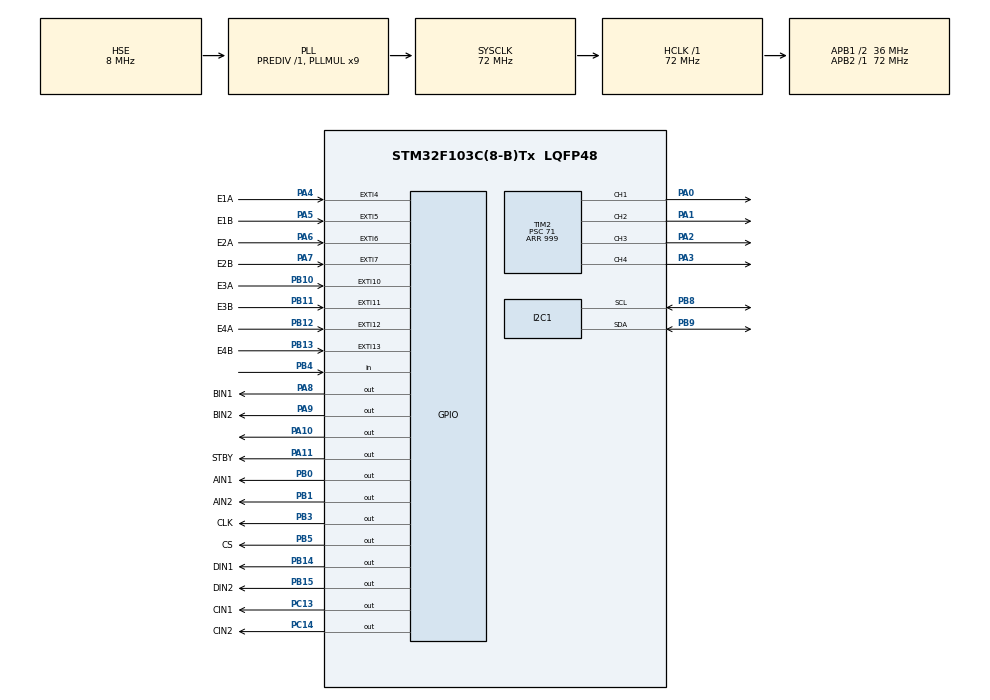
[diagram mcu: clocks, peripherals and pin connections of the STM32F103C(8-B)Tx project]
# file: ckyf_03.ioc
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FREERTOS.Queues01=MPUyawDataQueue01,5,float,0,Dynamic,NULL,NULL;MotorASpeedQueue02,4,float,0,Dynamic,NULL,NULL;MotorBSpeedQueue03,4,float,0,Dynamic,NULL,NULL;MotorCSpeedQueue04,4,float,0,Dynamic,NULL,NULL;MotorDSpeedQueue05,4,float,0,Dynamic,NULL,NULL;MotorAPosiQueue07,4,float,0,Dynamic,NULL,NULL;MotorBPosiQueue07,4,float,0,Dynamic,NULL,NULL;MotorCPosiQueue08,4,float,0,Dynamic,NULL,NULL;MotorDPosiQueue09,4,float,0,Dynamic,NULL,NULL
FREERTOS.Tasks01=defaultTask,24,128,StartDefaultTask,Default,NULL,Dynamic,NULL,NULL;MPU6050Task02,40,256,MPU6050task02,Default,NULL,Dynamic,NULL,NULL;PIDcalculateTas,48,512,PIDTask03,Default,NULL,Dynamic,NULL,NULL;ps2task,40,256,ps2Task04,Default,NULL,Dynamic,NULL,NULL
FREERTOS.Timers01=mpuReadTimer01,Callback01,osTimerPeriodic,Default,NULL,Dynamic,NULL
FREERTOS.configTOTAL_HEAP_SIZE=8192
I2C1.I2C_Mode=I2C_Fast
Mcu.Family=STM32F1
Mcu.Name=STM32F103C(8-B)Tx
Mcu.Package=LQFP48
NVIC.EXTI15_10_IRQn=true\:5\:0\:false\:false\:true\:true\:true\:true\:true
NVIC.EXTI4_IRQn=true\:5\:0\:false\:false\:true\:true\:true\:true\:true
NVIC.EXTI9_5_IRQn=true\:5\:0\:false\:false\:true\:true\:true\:true\:true
NVIC.PVD_IRQn=true\:5\:0\:false\:false\:true\:true\:true\:true\:true
NVIC.PriorityGroup=NVIC_PRIORITYGROUP_4
NVIC.TIM1_UP_IRQn=true\:15\:0\:false\:false\:true\:false\:false\:true\:true
NVIC.TIM3_IRQn=true\:5\:0\:false\:false\:true\:true\:true\:true\:true
NVIC.TimeBase=TIM1_UP_IRQn
NVIC.TimeBaseIP=TIM1
PA0-WKUP.Signal=S_TIM2_CH1_ETR
PA1.Signal=S_TIM2_CH2
PA10.Signal=GPIO_Output
PA11.GPIO_Label=STBY
PA11.Signal=GPIO_Output
PA13.Mode=Serial_Wire
PA13.Signal=SYS_JTMS-SWDIO
PA14.Mode=Serial_Wire
PA14.Signal=SYS_JTCK-SWCLK
PA2.Signal=S_TIM2_CH3
PA3.Signal=S_TIM2_CH4
PA4.GPIO_Label=E1A
PA4.GPIO_ModeDefaultEXTI=GPIO_MODE_IT_RISING_FALLING
PA4.GPIO_PuPd=GPIO_PULLUP
PA4.Signal=GPXTI4
PA5.GPIO_Label=E1B
PA5.GPIO_ModeDefaultEXTI=GPIO_MODE_IT_RISING_FALLING
PA5.GPIO_PuPd=GPIO_PULLUP
PA5.Signal=GPXTI5
PA6.GPIO_Label=E2A
PA6.GPIO_ModeDefaultEXTI=GPIO_MODE_IT_RISING_FALLING
PA6.GPIO_PuPd=GPIO_PULLUP
PA6.Signal=GPXTI6
PA7.GPIO_Label=E2B
PA7.GPIO_ModeDefaultEXTI=GPIO_MODE_IT_RISING_FALLING
PA7.GPIO_PuPd=GPIO_PULLUP
PA7.Signal=GPXTI7
PA8.GPIO_Label=BIN1
PA8.GPIO_PuPd=GPIO_PULLUP
PA8.Signal=GPIO_Output
PA9.GPIO_Label=BIN2
PA9.GPIO_PuPd=GPIO_PULLUP
PA9.Signal=GPIO_Output
PB0.GPIO_Label=AIN1
PB0.GPIO_PuPd=GPIO_PULLUP
PB0.Signal=GPIO_Output
PB1.GPIO_Label=AIN2
PB1.GPIO_PuPd=GPIO_PULLUP
PB1.Signal=GPIO_Output
PB10.GPIO_Label=E3A
PB10.GPIO_ModeDefaultEXTI=GPIO_MODE_IT_RISING_FALLING
PB10.GPIO_PuPd=GPIO_PULLUP
PB10.Signal=GPXTI10
PB11.GPIO_Label=E3B
PB11.GPIO_ModeDefaultEXTI=GPIO_MODE_IT_RISING_FALLING
PB11.GPIO_PuPd=GPIO_PULLUP
PB11.Signal=GPXTI11
PB12.GPIO_Label=E4A
PB12.GPIO_ModeDefaultEXTI=GPIO_MODE_IT_RISING_FALLING
PB12.GPIO_PuPd=GPIO_PULLUP
PB12.Signal=GPXTI12
PB13.GPIO_Label=E4B
PB13.GPIO_ModeDefaultEXTI=GPIO_MODE_IT_RISING_FALLING
PB13.GPIO_PuPd=GPIO_PULLUP
PB13.Signal=GPXTI13
PB14.GPIO_Label=DIN1
PB14.GPIO_PuPd=GPIO_PULLUP
PB14.Signal=GPIO_Output
PB15.GPIO_Label=DIN2
PB15.GPIO_PuPd=GPIO_PULLUP
PB15.Signal=GPIO_Output
PB3.GPIO_Label=CLK
PB3.GPIO_PuPd=GPIO_PULLUP
PB3.Signal=GPIO_Output
PB4.Signal=GPIO_Input
PB5.GPIO_Label=CS
PB5.GPIO_PuPd=GPIO_PULLUP
PB5.Signal=GPIO_Output
PB8.Mode=I2C
PB8.Signal=I2C1_SCL
PB9.Mode=I2C
PB9.Signal=I2C1_SDA
PC13-TAMPER-RTC.GPIO_Label=CIN1
PC13-TAMPER-RTC.Signal=GPIO_Output
PC14-OSC32_IN.GPIO_Label=CIN2
PC14-OSC32_IN.Signal=GPIO_Output
PD0-OSC_IN.Mode=HSE-External-Oscillator
PD0-OSC_IN.Signal=RCC_OSC_IN
PD1-OSC_OUT.Mode=HSE-External-Oscillator
PD1-OSC_OUT.Signal=RCC_OSC_OUT
ProjectManager.HeapSize=0x200
ProjectManager.StackSize=0x400
ProjectManager.TargetToolchain=MDK-ARM V5.32
RCC.AHBFreq_Value=72000000
RCC.APB1CLKDivider=RCC_HCLK_DIV2
RCC.APB1Freq_Value=36000000
RCC.APB1TimFreq_Value=72000000
RCC.APB2Freq_Value=72000000
RCC.APB2TimFreq_Value=72000000
RCC.HCLKFreq_Value=72000000
RCC.PLLMUL=RCC_PLL_MUL9
RCC.PLLSourceVirtual=RCC_PLLSOURCE_HSE
RCC.SYSCLKFreq_VALUE=72000000
RCC.SYSCLKSource=RCC_SYSCLKSOURCE_PLLCLK
RCC.USBFreq_Value=72000000
SH.S_TIM2_CH1_ETR.0=TIM2_CH1,PWM Generation1 CH1
SH.S_TIM2_CH2.0=TIM2_CH2,PWM Generation2 CH2
SH.S_TIM2_CH3.0=TIM2_CH3,PWM Generation3 CH3
SH.S_TIM2_CH4.0=TIM2_CH4,PWM Generation4 CH4
TIM2.Channel-PWM\ Generation1\ CH1=TIM_CHANNEL_1
TIM2.Channel-PWM\ Generation2\ CH2=TIM_CHANNEL_2
TIM2.Channel-PWM\ Generation3\ CH3=TIM_CHANNEL_3
TIM2.Channel-PWM\ Generation4\ CH4=TIM_CHANNEL_4
TIM2.Period=999
TIM2.Prescaler=71
TIM3.AutoReloadPreload=TIM_AUTORELOAD_PRELOAD_ENABLE
TIM3.Period=999
TIM3.Prescaler=719
VP_FREERTOS_VS_CMSIS_V2.Mode=CMSIS_V2
VP_SYS_VS_tim1.Mode=TIM1
VP_TIM3_VS_ClockSourceINT.Mode=Internal
board=custom

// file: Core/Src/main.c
/* USER CODE BEGIN Header */
/**
  ******************************************************************************
  * @file           : main.c
  * @brief          : Main program body
  ******************************************************************************
  * @attention
  *
  * Copyright (c) 2026 STMicroelectronics.
  * All rights reserved.
  *
  * This software is licensed under terms that can be found in the LICENSE file
  * in the root directory of this software component.
  * If no LICENSE file comes with this software, it is provided AS-IS.
  *
  ******************************************************************************
  */
/* USER CODE END Header */
#include "main.h"
#include "cmsis_os.h"
#include "i2c.h"
#include "tim.h"
#include "gpio.h"

/* USER CODE BEGIN Includes */
#include "ps2.h"
#include "encoder.h"
/* USER CODE END Includes */

/* USER CODE BEGIN PTD */
Encoder EncodeA,EncodeB,EncodeC,EncodeD;
/* USER CODE END PTD */

/* USER CODE BEGIN PV */
extern osMessageQueueId_t MotorCSpeedQueue04Handle;
extern osMessageQueueId_t MPUyawDataQueue01Handle;
extern osMessageQueueId_t MotorASpeedQueue02Handle;
extern osMessageQueueId_t MotorBSpeedQueue03Handle;
extern osMessageQueueId_t MotorDSpeedQueue05Handle;
extern osMessageQueueId_t MotorAPosiQueue07Handle;
extern osMessageQueueId_t MotorBPosiQueue07Handle;
extern osMessageQueueId_t MotorCPosiQueue08Handle;
extern osMessageQueueId_t MotorDPosiQueue09Handle;
/* USER CODE END PV */

void SystemClock_Config(void);
void MX_FREERTOS_Init(void);

int main(void)
{

  /* MCU Configuration--------------------------------------------------------*/

  /* Reset of all peripherals, Initializes the Flash interface and the Systick. */
  HAL_Init();

  /* Configure the system clock */
  SystemClock_Config();

  /* Initialize all configured peripherals */
  MX_GPIO_Init();
  MX_TIM2_Init();
  MX_TIM3_Init();
  MX_I2C1_Init();
  /* USER CODE BEGIN 2 */
	 CoreDebug->DEMCR |= CoreDebug_DEMCR_TRCENA_Msk;
  DWT->CYCCNT = 0;
  DWT->CTRL |= DWT_CTRL_CYCCNTENA_Msk;//作为delay_us_nos函数的初始化
  HAL_TIM_Base_Start(&htim2);
  HAL_TIM_Base_Start_IT(&htim3);
  HAL_TIM_PWM_Start(&htim2,TIM_CHANNEL_1);
  HAL_TIM_PWM_Start(&htim2,TIM_CHANNEL_2);
  HAL_TIM_PWM_Start(&htim2,TIM_CHANNEL_3);
  HAL_TIM_PWM_Start(&htim2,TIM_CHANNEL_4);//启动定时器以及pwm
	PS2_SetInit();//ps2接收初始化，需要在时钟初始化后面
  /* USER CODE END 2 */

  /* Init scheduler */
  osKernelInitialize();  /* Call init function for freertos objects (in cmsis_os2.c) */
  MX_FREERTOS_Init();

  /* Start scheduler */
  osKernelStart();

  /* We should never get here as control is now taken by the scheduler */

  /* Infinite loop */
  while (1)
  {

  }
}

void SystemClock_Config(void)
{
  RCC_OscInitTypeDef RCC_OscInitStruct = {0};
  RCC_ClkInitTypeDef RCC_ClkInitStruct = {0};

  /** Initializes the RCC Oscillators according to the specified parameters
  * in the RCC_OscInitTypeDef structure.
  */
  RCC_OscInitStruct.OscillatorType = RCC_OSCILLATORTYPE_HSE;
  RCC_OscInitStruct.HSEState = RCC_HSE_ON;
  RCC_OscInitStruct.HSEPredivValue = RCC_HSE_PREDIV_DIV1;
  RCC_OscInitStruct.HSIState = RCC_HSI_ON;
  RCC_OscInitStruct.PLL.PLLState = RCC_PLL_ON;
  RCC_OscInitStruct.PLL.PLLSource = RCC_PLLSOURCE_HSE;
  RCC_OscInitStruct.PLL.PLLMUL = RCC_PLL_MUL9;
  if (HAL_RCC_OscConfig(&RCC_OscInitStruct) != HAL_OK)
  {
    Error_Handler();
  }

  /** Initializes the CPU, AHB and APB buses clocks
  */
  RCC_ClkInitStruct.ClockType = RCC_CLOCKTYPE_HCLK|RCC_CLOCKTYPE_SYSCLK
                              |RCC_CLOCKTYPE_PCLK1|RCC_CLOCKTYPE_PCLK2;
  RCC_ClkInitStruct.SYSCLKSource = RCC_SYSCLKSOURCE_PLLCLK;
  RCC_ClkInitStruct.AHBCLKDivider = RCC_SYSCLK_DIV1;
  RCC_ClkInitStruct.APB1CLKDivider = RCC_HCLK_DIV2;
  RCC_ClkInitStruct.APB2CLKDivider = RCC_HCLK_DIV1;

  if (HAL_RCC_ClockConfig(&RCC_ClkInitStruct, FLASH_LATENCY_2) != HAL_OK)
  {
    Error_Handler();
  }
}

/* USER CODE BEGIN 4 */
/*********GPIO外部中断**********/
//作为软件编码器供电机使用
//配置为双引脚上升下降沿触发->四倍频

 void HAL_GPIO_EXTI_Callback(uint16_t GPIO_Pin)
  {
    if(GPIO_Pin==E1A_Pin||GPIO_Pin==E1B_Pin){
      EncodeProcess(E1A_GPIO_Port,E1A_Pin,E1B_Pin,&EncodeA);
    }
    if(GPIO_Pin==E2A_Pin||GPIO_Pin==E2B_Pin){
      EncodeProcess(E2A_GPIO_Port,E2A_Pin,E2B_Pin,&EncodeB);
    }
    if(GPIO_Pin==E3A_Pin||GPIO_Pin==E3B_Pin){
      EncodeProcess(E3A_GPIO_Port,E3A_Pin,E3B_Pin,&EncodeC);
    }
    if(GPIO_Pin==E4A_Pin||GPIO_Pin==E4B_Pin){
      EncodeProcess(E4A_GPIO_Port,E4A_Pin,E4B_Pin,&EncodeD);
    }
  }
/* USER CODE END 4 */

	/***定时器3中断回调函数****/
	//定时读取编码器值并传入队列

void HAL_TIM_PeriodElapsedCallback(TIM_HandleTypeDef *htim)
{
  if (htim->Instance == TIM1)
  {
    HAL_IncTick();
  }
  /* USER CODE BEGIN Callback 1 */
	if(htim->Instance == TIM3){
    float MotorSpeedA=0,MotorSpeedB=0,MotorSpeedC=0,MotorSpeedD=0;
    float MotorAPosi=0,MotorBPosi=0,MotorCPosi=0,MotorDPosi=0;
    MotorAPosi=EncodeA.cnt,MotorBPosi=EncodeB.cnt,MotorCPosi=EncodeC.cnt,MotorDPosi=EncodeD.cnt;
    MotorSpeedA=(float)MotorAPosi-EncodeA.last_cnt;
    EncodeA.last_cnt=MotorAPosi;
    MotorSpeedB=(float)MotorBPosi-EncodeB.last_cnt;
    EncodeB.last_cnt=MotorBPosi;
    MotorSpeedC=-(float)(MotorCPosi-EncodeC.last_cnt);
    EncodeC.last_cnt=MotorCPosi;
    MotorSpeedD=-(float)(MotorDPosi-EncodeD.last_cnt);
    EncodeD.last_cnt=MotorDPosi;
    osMessageQueuePut(MotorASpeedQueue02Handle,&MotorSpeedA,0,0);
    osMessageQueuePut(MotorBSpeedQueue03Handle,&MotorSpeedB,0,0);
    osMessageQueuePut(MotorCSpeedQueue04Handle,&MotorSpeedC,0,0);
    osMessageQueuePut(MotorDSpeedQueue05Handle,&MotorSpeedD,0,0);
    osMessageQueuePut(MotorAPosiQueue07Handle,&MotorAPosi,0,0);
    osMessageQueuePut(MotorBPosiQueue07Handle,&MotorBPosi,0,0);
    osMessageQueuePut(MotorCPosiQueue08Handle,&MotorCPosi,0,0);
    osMessageQueuePut(MotorDPosiQueue09Handle,&MotorDPosi,0,0);
  }
  /* USER CODE END Callback 1 */
}

void Error_Handler(void)
{
  __disable_irq();
  while (1)
  {
  }
}

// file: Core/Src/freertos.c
/* USER CODE BEGIN Header */
/**
  ******************************************************************************
  * File Name          : freertos.c
  * Description        : Code for freertos applications
  ******************************************************************************
  * @attention
  *
  * Copyright (c) 2026 STMicroelectronics.
  * All rights reserved.
  *
  * This software is licensed under terms that can be found in the LICENSE file
  * in the root directory of this software component.
  * If no LICENSE file comes with this software, it is provided AS-IS.
  *
  ******************************************************************************
  */
/* USER CODE END Header */

#include "FreeRTOS.h"
#include "task.h"
#include "main.h"
#include "cmsis_os.h"

/* USER CODE BEGIN Includes */
#include "mpu6050.h"
#include "pid.h"
#include "math.h"
#include "ps2.h"
#include "pwmset.h"
/* USER CODE END Includes */

/* USER CODE BEGIN PTD */
pid_type_def posiX,posiY,posiT,speeA,speeB,speeC,speeD;
/* USER CODE END PTD */

/* USER CODE BEGIN PD */
#define LineNum 13.0f
#define ReductRate 34.0f
#define WheelDia 68.0f
#define PulsesPerRoll 1768.0f
#define PulsesPermm 1768.0f/(68.0f*PI)

/* USER CODE END PD */

/* USER CODE BEGIN Variables */
fp32 kpidX[3]={0.6f,0.0f,0.0f},kpidY[3]={0.6f,0.0f,0.0f},kpidT[3]={0.9f,0.0f,0.0f};
fp32 kpidA[3]={10.0f,0.0f,0.0f},kpidB[3]={10.0f,0.0f,0.0f},kpidC[3]={10.0f,0.0f,0.0f},kpidD[3]={10.0f,0.0f,0.0f};
  uint8_t flag=1,roll_flag=0,tuoluo_flag=0;
fp32 first_omega=0,d_omega=0;
fp32 x_set=0,y_set=0,t_set=0;
fp32 t_conSpeed=0,tuo_speed=0;
fp32 now_speeA=0,now_speeB=0,now_speeC=0,now_speeD=0;
uint8_t cnt=0,lx=0,ly=0,rx=0,ry=0;
int initValue=1;
int initValue2=1;//总之是一堆用上没用上的还有debug用的一些变量
/* USER CODE END Variables */
/* Definitions for defaultTask */
osThreadId_t defaultTaskHandle;
const osThreadAttr_t defaultTask_attributes = {
  .name = "defaultTask",
  .stack_size = 128 * 4,
  .priority = (osPriority_t) osPriorityNormal,
};
/* Definitions for MPU6050Task02 */
osThreadId_t MPU6050Task02Handle;
const osThreadAttr_t MPU6050Task02_attributes = {
  .name = "MPU6050Task02",
  .stack_size = 256 * 4,
  .priority = (osPriority_t) osPriorityHigh,
};
/* Definitions for PIDcalculateTas */
osThreadId_t PIDcalculateTasHandle;
const osThreadAttr_t PIDcalculateTas_attributes = {
  .name = "PIDcalculateTas",
  .stack_size = 512 * 4,
  .priority = (osPriority_t) osPriorityRealtime,
};
/* Definitions for ps2task */
osThreadId_t ps2taskHandle;
const osThreadAttr_t ps2task_attributes = {
  .name = "ps2task",
  .stack_size = 256 * 4,
  .priority = (osPriority_t) osPriorityHigh,
};
/* Definitions for MPUyawDataQueue01 */
osMessageQueueId_t MPUyawDataQueue01Handle;
const osMessageQueueAttr_t MPUyawDataQueue01_attributes = {
  .name = "MPUyawDataQueue01"
};
/* Definitions for MotorASpeedQueue02 */
osMessageQueueId_t MotorASpeedQueue02Handle;
const osMessageQueueAttr_t MotorASpeedQueue02_attributes = {
  .name = "MotorASpeedQueue02"
};
/* Definitions for MotorBSpeedQueue03 */
osMessageQueueId_t MotorBSpeedQueue03Handle;
const osMessageQueueAttr_t MotorBSpeedQueue03_attributes = {
  .name = "MotorBSpeedQueue03"
};
/* Definitions for MotorCSpeedQueue04 */
osMessageQueueId_t MotorCSpeedQueue04Handle;
const osMessageQueueAttr_t MotorCSpeedQueue04_attributes = {
  .name = "MotorCSpeedQueue04"
};
/* Definitions for MotorDSpeedQueue05 */
osMessageQueueId_t MotorDSpeedQueue05Handle;
const osMessageQueueAttr_t MotorDSpeedQueue05_attributes = {
  .name = "MotorDSpeedQueue05"
};
/* Definitions for MotorAPosiQueue07 */
osMessageQueueId_t MotorAPosiQueue07Handle;
const osMessageQueueAttr_t MotorAPosiQueue07_attributes = {
  .name = "MotorAPosiQueue07"
};
/* Definitions for MotorBPosiQueue07 */
osMessageQueueId_t MotorBPosiQueue07Handle;
const osMessageQueueAttr_t MotorBPosiQueue07_attributes = {
  .name = "MotorBPosiQueue07"
};
/* Definitions for MotorCPosiQueue08 */
osMessageQueueId_t MotorCPosiQueue08Handle;
const osMessageQueueAttr_t MotorCPosiQueue08_attributes = {
  .name = "MotorCPosiQueue08"
};
/* Definitions for MotorDPosiQueue09 */
osMessageQueueId_t MotorDPosiQueue09Handle;
const osMessageQueueAttr_t MotorDPosiQueue09_attributes = {
  .name = "MotorDPosiQueue09"
};
/* Definitions for mpuReadTimer01 */
osTimerId_t mpuReadTimer01Handle;
const osTimerAttr_t mpuReadTimer01_attributes = {
  .name = "mpuReadTimer01"
};

void StartDefaultTask(void *argument);
void MPU6050task02(void *argument);
void PIDTask03(void *argument);
void ps2Task04(void *argument);
void Callback01(void *argument);

void MX_FREERTOS_Init(void); /* (MISRA C 2004 rule 8.1) */

void MX_FREERTOS_Init(void) {

  /* Create the timer(s) */
  /* creation of mpuReadTimer01 */
  mpuReadTimer01Handle = osTimerNew(Callback01, osTimerPeriodic, NULL, &mpuReadTimer01_attributes);

  /* Create the queue(s) */
  /* creation of MPUyawDataQueue01 */
  MPUyawDataQueue01Handle = osMessageQueueNew (5, sizeof(float), &MPUyawDataQueue01_attributes);

  /* creation of MotorASpeedQueue02 */
  MotorASpeedQueue02Handle = osMessageQueueNew (4, sizeof(float), &MotorASpeedQueue02_attributes);

  /* creation of MotorBSpeedQueue03 */
  MotorBSpeedQueue03Handle = osMessageQueueNew (4, sizeof(float), &MotorBSpeedQueue03_attributes);

  /* creation of MotorCSpeedQueue04 */
  MotorCSpeedQueue04Handle = osMessageQueueNew (4, sizeof(float), &MotorCSpeedQueue04_attributes);

  /* creation of MotorDSpeedQueue05 */
  MotorDSpeedQueue05Handle = osMessageQueueNew (4, sizeof(float), &MotorDSpeedQueue05_attributes);

  /* creation of MotorAPosiQueue07 */
  MotorAPosiQueue07Handle = osMessageQueueNew (4, sizeof(float), &MotorAPosiQueue07_attributes);

  /* creation of MotorBPosiQueue07 */
  MotorBPosiQueue07Handle = osMessageQueueNew (4, sizeof(float), &MotorBPosiQueue07_attributes);

  /* creation of MotorCPosiQueue08 */
  MotorCPosiQueue08Handle = osMessageQueueNew (4, sizeof(float), &MotorCPosiQueue08_attributes);

  /* creation of MotorDPosiQueue09 */
  MotorDPosiQueue09Handle = osMessageQueueNew (4, sizeof(float), &MotorDPosiQueue09_attributes);

  /* Create the thread(s) */
  /* creation of defaultTask */
  defaultTaskHandle = osThreadNew(StartDefaultTask, NULL, &defaultTask_attributes);

  /* creation of MPU6050Task02 */
  MPU6050Task02Handle = osThreadNew(MPU6050task02, NULL, &MPU6050Task02_attributes);

  /* creation of PIDcalculateTas */
  PIDcalculateTasHandle = osThreadNew(PIDTask03, NULL, &PIDcalculateTas_attributes);

  /* creation of ps2task */
  ps2taskHandle = osThreadNew(ps2Task04, NULL, &ps2task_attributes);

}

void StartDefaultTask(void *argument)
{
  for(;;)
  {
    osDelay(1);
  }
}

void MPU6050task02(void *argument)
{
  /* USER CODE BEGIN MPU6050task02 */
	fp32 yaw=0;//yaw值
	fp32 a=0,b=0;//临时变量，无意义，只是作为函数传入的变量使用
	initValue=MPU6050_DMP_init();
	 while(initValue!=0){
			initValue=MPU6050_DMP_init();
	 }//MPU初始化，初始化失败就一直初始化
  /* Infinite loop */
  for(;;)
  {
    if(MPU6050_DMP_Get_Date(&a,&b,&yaw)==0){

			//if(yaw<0)yaw+=360;
			if(cnt<200){
				cnt++;
			}//计数值，由于dmp的算法原因，上电一段时间后mpu读取的值才是正确的，所以用计数值来确保读取角度是正确的
			osMessageQueuePut(MPUyawDataQueue01Handle,&yaw,0,0);
			vTaskDelay(10);//如果读取到数据就传入队列，读取频率和pid任务频率相同
		}else{
			vTaskDelay(1);//未读取到则延时一个时间片
		}
  }
  /* USER CODE END MPU6050task02 */
}

void PIDTask03(void *argument)
{
  /* USER CODE BEGIN PIDTask03 */

	uint16_t pwm[4]={0};
	fp32 Omega=0;
	fp32 tar_speed[4]={0};//
	fp32 Acnt=0,Bcnt=0,Ccnt=0,Dcnt=0;
	fp32 x_now=0,x_tar=0,y_now=0,y_tar=0,t_now=0,t_tar=0;
	fp32 x_SetSpeed=0,y_SetSpeed=0,t_SetSpeed=0;
	PID_init(&posiX,PID_POSITION,&kpidX[0],1000,200);
	PID_init(&posiY,PID_POSITION,&kpidY[0],1000,200);
	PID_init(&posiT,PID_POSITION,&kpidT[0],50,200);
	PID_init(&speeA,PID_POSITION,&kpidA[0],999,50);
	PID_init(&speeB,PID_POSITION,&kpidB[0],999,50);
	PID_init(&speeC,PID_POSITION,&kpidC[0],999,50);
	PID_init(&speeD,PID_POSITION,&kpidD[0],999,50);//进行pid初始化，为3个位置环和4个速度环
  /* Infinite loop */
  for(;;)
  {
		if(osMessageQueueGet(MPUyawDataQueue01Handle,&Omega,NULL,0)!=osOK){
			osDelay(1);
		}
    if(osMessageQueueGet(MotorASpeedQueue02Handle,&now_speeA,NULL,0)!=osOK){
			osDelay(1);
		}
		if(osMessageQueueGet(MotorBSpeedQueue03Handle,&now_speeB,NULL,0)!=osOK){
			osDelay(1);
		}
		if(osMessageQueueGet(MotorCSpeedQueue04Handle,&now_speeC,NULL,0)!=osOK){
			osDelay(1);
		}
		if(osMessageQueueGet(MotorDSpeedQueue05Handle,&now_speeD,NULL,0)!=osOK){
			osDelay(1);
		}
		if(osMessageQueueGet(MotorAPosiQueue07Handle,&Acnt,NULL,0)!=osOK){
			osDelay(1);
		}
		if(osMessageQueueGet(MotorBPosiQueue07Handle,&Bcnt,NULL,0)!=osOK){
			osDelay(1);
		}
		if(osMessageQueueGet(MotorCPosiQueue08Handle,&Ccnt,NULL,0)!=osOK){
			osDelay(1);
		}
		if(osMessageQueueGet(MotorDPosiQueue09Handle,&Dcnt,NULL,0)!=osOK){
			osDelay(1);
		}//从队列读取数据，读取失败则延时一个时间片

		if(flag==1&&cnt==200){
			first_omega=Omega;
			flag=0;
			}//如果计数值和标志位都正确，更新锁定角度为读取角度

		if(first_omega>=360){
			first_omega-=360;
		}else if(first_omega<0){
			first_omega+=360;
		}//对锁定角度进行限幅处理

		if(cnt==200){
			d_omega=first_omega-Omega;
		}//只有更新了锁定角度之后再进行角度差计算，防止小车一开始乱动
		/*******PS2 Remote Control Part*******/

		/**************************************/
			 if(t_conSpeed != 0){
      // 正在手动旋转，更新目标角度，禁用位置环
      first_omega = Omega;
      d_omega = 0;

			}else{
      // 没有手动旋转，计算位置环
      d_omega=first_omega-Omega;
      while(d_omega<-180){d_omega+=360;}
      while(d_omega>180){d_omega-=360;}

			}

			x_SetSpeed=PID_calc(&posiX,0,x_set);//x(-230-230)
			y_SetSpeed=PID_calc(&posiY,0,y_set);//y(-230-230)
			t_SetSpeed=PID_calc(&posiT,0,d_omega);//T(-540-540)对三个位置环进行计算

			/****************小陀螺行进
			*如果小陀螺标志位为1则禁用角度环，防止自动角度修正
			*a，b做临时变量，方便对新x，y速度计算
			*用d——omega作为与前进方向的差值计算
			*同时将角度转化为弧度
			*/
			if(tuoluo_flag==1){
				t_SetSpeed=0;
				fp32 a=x_SetSpeed,b=y_SetSpeed;
				x_SetSpeed=a*cosf(-d_omega*PI/180.0f)-b*sinf(-d_omega*PI/180.0f);
				y_SetSpeed=a*sinf(-d_omega*PI/180.0f)+b*cosf(-d_omega*PI/180.0f);
			}

			tar_speed[0]=x_SetSpeed+y_SetSpeed+t_SetSpeed+t_conSpeed+tuo_speed;
			tar_speed[1]=x_SetSpeed-y_SetSpeed+t_SetSpeed+t_conSpeed+tuo_speed;
			tar_speed[2]=x_SetSpeed+y_SetSpeed-t_SetSpeed-t_conSpeed-tuo_speed;
			tar_speed[3]=x_SetSpeed-y_SetSpeed-t_SetSpeed-t_conSpeed-tuo_speed;//通过位置环3个速度结果对4个电机分别进行速度解算

			pwm[0]=(uint16_t)fabs(PID_calc(&speeA,-now_speeA,tar_speed[0]));
			pwm[1]=(uint16_t)fabs(PID_calc(&speeB,-now_speeB,tar_speed[1]));
			pwm[2]=(uint16_t)fabs(PID_calc(&speeC,-now_speeC,tar_speed[2]));
			pwm[3]=(uint16_t)fabs(PID_calc(&speeD,-now_speeD,tar_speed[3]));//速度环计算，并转化为pwm值

			for(int i=0;i<4;i++){
				if(pwm[i]>999){
					pwm[i]=999;
				}
			}//对pwm进行限幅

			PWMSet(AIN1_GPIO_Port,AIN2_GPIO_Port,AIN2_Pin,AIN1_Pin,pwm[0],&speeA,TIM_CHANNEL_1);
			PWMSet(BIN1_GPIO_Port,BIN2_GPIO_Port,BIN1_Pin,BIN2_Pin,pwm[1],&speeB,TIM_CHANNEL_2);
			PWMSet(CIN1_GPIO_Port,CIN2_GPIO_Port,CIN1_Pin,CIN2_Pin,pwm[2],&speeC,TIM_CHANNEL_3);
			PWMSet(DIN1_GPIO_Port,DIN2_GPIO_Port,DIN1_Pin,DIN2_Pin,pwm[3],&speeD,TIM_CHANNEL_4);//给各个电机进行转速与方向的设置
			vTaskDelay(10);

	}
  /* USER CODE END PIDTask03 */
}

/**PS2手柄接收控制**/
void ps2Task04(void *argument)
{
  /* USER CODE BEGIN ps2Task04 */
	uint8_t mode=0,key=0;//模式值与按键值
  /* Infinite loop */
  for(;;)
  {
    key=PS2_DataKey();//读取按键值
		if(key==PSB_SELECT){
			mode=!mode;
		}//如果按下select键则进行模式切换

		if(mode==0){
			switch(key){
				case PSB_PAD_UP:
					x_set=100;
					break;
				case PSB_PAD_DOWN:
					x_set=-100;
					break;
				case PSB_PAD_LEFT:
					y_set=-100;
					break;
				case PSB_PAD_RIGHT:
					y_set=100;
					break;//前后左右定速移动

				case PSB_RED:
					t_conSpeed=30;

					break;
				case PSB_PINK:
					t_conSpeed=-30;

					break;//定速转向

				case PSB_GREEN:
					if(tuoluo_flag==0){
						tuoluo_flag=1;
						tuo_speed=100;
					}else{
						tuoluo_flag=0;
						tuo_speed=0;
					}
					break;//按下绿键则开启小陀螺模式

				default:
					x_set=0;
					y_set=0;
					t_conSpeed=0;

					break;//没有按键按下，所有速度清零
			}
		}else{
			lx=PS2_AnologData(PSS_LX);
			ly=PS2_AnologData(PSS_LY);
			rx=PS2_AnologData(PSS_RX);
			x_set=(fp32)lx-128;
			y_set=(fp32)ly-128;
			t_conSpeed=(fp32)rx-128;
			if(fabs(x_set)<10){x_set=0;}
			if(fabs(y_set)<10){y_set=0;}
			if(fabs(t_conSpeed)<10){t_conSpeed=0;

			}

			x_set=x_set*100/128;
			y_set=y_set*100/128;
			t_conSpeed=t_conSpeed*100/128;
		}//摇杆模式（感觉个人摇杆好像不对劲，摇杆模式操控不正常）

			vTaskDelay(20);
		}

 }
  /* USER CODE END ps2Task04 */

/* Callback01 function */
void Callback01(void *argument)
{
}
